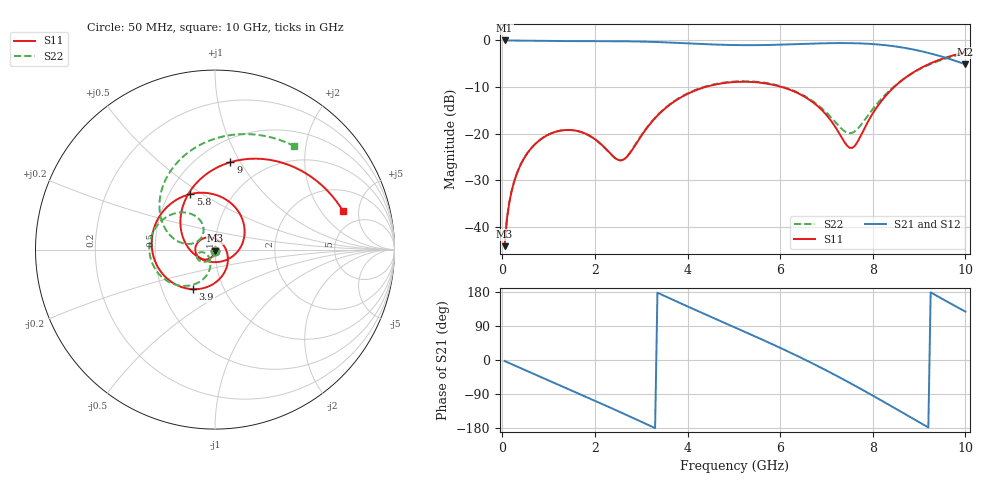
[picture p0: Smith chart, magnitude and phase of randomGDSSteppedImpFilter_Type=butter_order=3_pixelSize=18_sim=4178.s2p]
! freq	dB(S11)	phase(S11)	dB(S12)	phase(S12)
!  dB(S21)	phase(S21)	dB(S22)	phase(S22)
!S-par simulation data
#  GHz  S  DB  R 50
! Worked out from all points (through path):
!   200 points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, 50 MHz to 10 GHz, reference 50 ohm
!   highest |S21| = -0.01 dB at 50 MHz (marker M1); lowest = -5.1 dB at 10 GHz (marker M2)
!   group delay of S21, straight-line fit = 162 ps
!   lowest |S11| = -44.1 dB at 50 MHz (marker M3), VSWR 1.01, Z = 50 - j0.625 ohm
!   |S11| at or under -10 dB: start of sweep to 4.38 GHz; 6.041 GHz to 8.461 GHz (2.419 GHz wide, 33.4 % of centre)
!   |S22| runs from -44.1 to -2.8 dB; largest |S21 - S12| = 0
!   S11 on the Smith chart (normalised r, x): 50 MHz: 1.00, -0.01; 3.9 GHz: 0.72, -0.34; 5.8 GHz: 0.64, +0.45; 9 GHz: 0.70, +0.91; 10 GHz: 3.42, +3.33
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0.05  -44.08 -90.4  -0.01 -2.8  -0.01 -2.8  -44.06 -89.8
0.1  -38.24 -94.5  -0.01 -5.5  -0.01 -5.5  -38.22 -93.1
0.2  -32.33 -101.7  -0.02 -10.9  -0.02 -10.9  -32.32 -98.7
0.55  -24.05 -124.3  -0.06 -29.7  -0.06 -29.7  -24.03 -115.9
1.15  -19.58 -162.6  -0.12 -61.9  -0.12 -61.9  -19.57 -142.5
1.75  -19.79 154.8  -0.16 -94.1  -0.16 -94.1  -19.81 -164.5
2.6  -25.62 33.2  -0.18 -140.5  -0.18 -140.5  -25.59 -134.5
3  -20.46 -41.0  -0.24 -162.8  -0.24 -162.8  -20.34 -105.6
3.4  -15.62 -81.1  -0.36 174.7  -0.36 174.7  -15.51 -110.3
3.9  -11.96 -119.0  -0.58 146.9  -0.58 146.9  -11.85 -127.8
4.5  -9.68 -159.5  -0.85 114.1  -0.85 114.1  -9.57 -152.4
5.05  -8.89 164.6  -1.00 84.5  -1.00 84.5  -8.78 -175.4
5.8  -9.41 113.9  -0.96 43.4  -0.96 43.4  -9.29 153.9
6.3  -10.92 76.9  -0.81 14.8  -0.81 14.8  -10.79 134.5
6.7  -13.20 43.6  -0.68 -9.1  -0.68 -9.1  -12.97 121.4
7.1  -17.24 1.9  -0.58 -34.1  -0.58 -34.1  -16.50 116.6
7.55  -23.04 -96.1  -0.59 -63.4  -0.59 -63.4  -19.82 146.5
7.95  -16.47 175.6  -0.75 -90.5  -0.75 -90.5  -15.37 168.9
8.35  -11.09 132.4  -1.11 -118.3  -1.11 -118.3  -10.84 159.2
9  -6.12 80.1  -2.20 -164.0  -2.20 -164.0  -6.23 122.8
9.55  -3.76 43.2  -3.64 157.9  -3.64 157.9  -3.95 85.2
10  -2.57 17.0  -5.11 127.7  -5.11 127.7  -2.78 52.6
